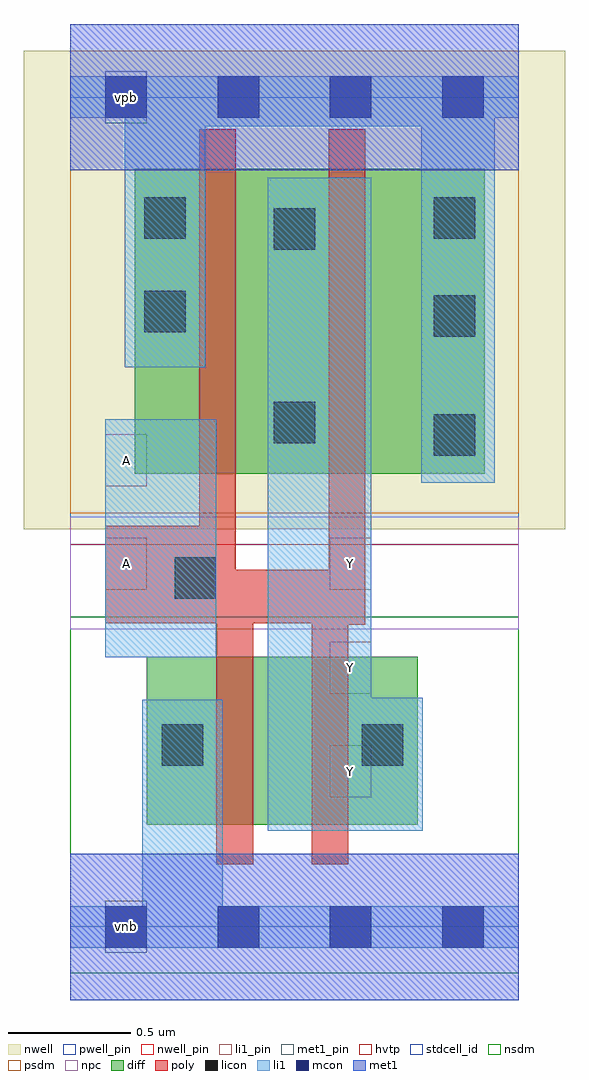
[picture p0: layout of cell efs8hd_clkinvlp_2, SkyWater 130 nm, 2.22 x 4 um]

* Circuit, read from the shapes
.subckt efs8hd_clkinvlp_2 A Y vgnd vnb vpb vpwr
XM1 n1 A vgnd vnb sky130_fd_pr__nfet_01v8 w=0.687 l=0.15
XM2 Y A n1 vnb sky130_fd_pr__nfet_01v8 w=0.687 l=0.15
XM3 Y A vpwr vpb sky130_fd_pr__pfet_01v8_hvt w=1.25 l=0.15 m=2
.ends

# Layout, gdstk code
import gdstk
lib = gdstk.Library(unit=1e-6, precision=1e-09)
def R(c, l, rs):  # rectangles x0, y0, x1, y1
    for r in rs: c.add(gdstk.rectangle(r[:2], r[2:], *l))
def A(c, l, x, y, w, h, nx, ny, dx, dy):  # array of equal rectangles
    R(c, l, [(x+i*dx, y+j*dy, x+i*dx+w, y+j*dy+h) for i in range(nx) for j in range(ny)])
def P(c, l, *ps):  # polygons
    for p in ps: c.add(gdstk.Polygon(p, *l))
nwell_pin = (64, 16)
nwell = (64, 20)
diff = (65, 20)
poly = (66, 20)
licon = (66, 44)
li1_pin = (67, 16)
li1 = (67, 20)
mcon = (67, 44)
met1_pin = (68, 16)
met1 = (68, 20)
hvtp = (78, 44)
stdcell_id = (81, 4)
nsdm = (93, 44)
psdm = (94, 20)
npc = (95, 20)
pwell_pin = (122, 16)

efs8hd_clkinvlp_2 = lib.new_cell('efs8hd_clkinvlp_2')
R(efs8hd_clkinvlp_2, nwell_pin, [(0.145,3.294,0.315,3.506)])
R(efs8hd_clkinvlp_2, nwell, [(-0.19,1.63,2.03,3.59)])
R(efs8hd_clkinvlp_2, diff, [(0.315,0.419,1.425,1.106), (0.265,1.856,1.7,3.106)])
P(efs8hd_clkinvlp_2, poly, [(1.06,3.269),(1.06,1.463),(0.68,1.463),(0.68,3.269),(0.53,3.269),(0.53,1.644),(0.145,1.644),(0.145,1.244),(0.6,1.244),(0.6,0.256),(0.75,0.256),(0.75,1.244),(0.99,1.244),(0.99,0.256),(1.14,0.256),(1.14,1.238),(1.21,1.238),(1.21,3.269)])
R(efs8hd_clkinvlp_2, licon, [(0.375,0.661,0.545,0.831), (1.195,0.661,1.365,0.831), (0.43,1.344,0.6,1.514), (1.49,1.931,1.66,2.101), (0.835,1.981,1.005,2.151), (1.49,2.418,1.66,2.588), (0.305,2.436,0.475,2.606), (0.835,2.774,1.005,2.944), (0.305,2.819,0.475,2.989), (1.49,2.819,1.66,2.989)])
A(efs8hd_clkinvlp_2, li1_pin, 1.065, 0.531, 0.17, 0.213, 1, 3, 0, 0.425)
R(efs8hd_clkinvlp_2, li1_pin, [(0.145,1.381,0.315,1.594), (0.145,1.806,0.315,2.019)])
R(efs8hd_clkinvlp_2, li1, [(0.145,1.105,0.6,2.081)])
P(efs8hd_clkinvlp_2, li1, [(0.295,0.931),(0.295,0.085),(0,0.085),(0,-0.085),(1.84,-0.085),(1.84,0.085),(0.625,0.085),(0.625,0.931)],
  [(0.81,3.069),(0.81,0.394),(1.445,0.394),(1.445,0.938),(1.235,0.938),(1.235,3.069)],
  [(0,3.485),(0,3.315),(0.225,3.315),(0.225,2.294),(0.555,2.294),(0.555,3.281),(1.44,3.281),(1.44,1.819),(1.74,1.819),(1.74,3.315),(1.84,3.315),(1.84,3.485)])
R(efs8hd_clkinvlp_2, mcon, [(0.145,-0.085,0.315,0.085), (0.145,-0.085,0.315,0.085), (0.145,-0.085,0.315,0.085), (0.145,-0.085,0.315,0.085), (0.145,-0.085,0.315,0.085), (0.145,-0.085,0.315,0.085), (0.145,-0.085,0.315,0.085), (0.145,-0.085,0.315,0.085), (0.145,-0.085,0.315,0.085), (0.145,-0.085,0.315,0.085), (0.145,-0.085,0.315,0.085), (0.145,-0.085,0.315,0.085), (0.145,-0.085,0.315,0.085), (0.145,-0.085,0.315,0.085), (0.145,-0.085,0.315,0.085), (0.145,-0.085,0.315,0.085), (0.145,-0.085,0.315,0.085), (0.145,-0.085,0.315,0.085), (0.145,-0.085,0.315,0.085), (0.145,-0.085,0.315,0.085), (0.145,-0.085,0.315,0.085), (0.145,-0.085,0.315,0.085), (0.145,-0.085,0.315,0.085), (0.145,-0.085,0.315,0.085), (0.145,-0.085,0.315,0.085), (0.145,-0.085,0.315,0.085), (0.145,-0.085,0.315,0.085), (0.145,-0.085,0.315,0.085), (0.145,-0.085,0.315,0.085), (0.145,-0.085,0.315,0.085), (0.145,-0.085,0.315,0.085), (0.145,-0.085,0.315,0.085), (0.145,-0.085,0.315,0.085), (0.145,-0.085,0.315,0.085), (0.145,-0.085,0.315,0.085), (0.145,-0.085,0.315,0.085), (0.145,-0.085,0.315,0.085), (0.145,-0.085,0.315,0.085), (0.145,-0.085,0.315,0.085), (0.145,-0.085,0.315,0.085), (0.145,-0.085,0.315,0.085), (0.145,-0.085,0.315,0.085), (0.145,-0.085,0.315,0.085), (0.145,-0.085,0.315,0.085), (0.145,-0.085,0.315,0.085), (0.145,-0.085,0.315,0.085), (0.145,-0.085,0.315,0.085), (0.145,-0.085,0.315,0.085), (0.145,-0.085,0.315,0.085), (0.145,-0.085,0.315,0.085), (0.145,-0.085,0.315,0.085), (0.145,-0.085,0.315,0.085), (0.145,-0.085,0.315,0.085), (0.145,-0.085,0.315,0.085), (0.145,-0.085,0.315,0.085), (0.145,-0.085,0.315,0.085), (0.145,-0.085,0.315,0.085), (0.145,-0.085,0.315,0.085), (0.145,-0.085,0.315,0.085), (0.145,-0.085,0.315,0.085), (0.145,-0.085,0.315,0.085), (0.145,-0.085,0.315,0.085), (0.145,-0.085,0.315,0.085), (0.145,-0.085,0.315,0.085), (0.145,-0.085,0.315,0.085), (0.145,-0.085,0.315,0.085), (0.145,-0.085,0.315,0.085), (0.145,-0.085,0.315,0.085), (0.145,-0.085,0.315,0.085), (0.145,-0.085,0.315,0.085), (0.145,-0.085,0.315,0.085), (0.145,-0.085,0.315,0.085), (0.145,-0.085,0.315,0.085), (0.145,-0.085,0.315,0.085), (0.145,-0.085,0.315,0.085), (0.145,-0.085,0.315,0.085), (0.145,-0.085,0.315,0.085), (0.145,-0.085,0.315,0.085), (0.145,-0.085,0.315,0.085), (0.145,-0.085,0.315,0.085), (0.145,-0.085,0.315,0.085), (0.145,-0.085,0.315,0.085), (0.145,-0.085,0.315,0.085), (0.145,-0.085,0.315,0.085), (0.145,-0.085,0.315,0.085), (0.145,-0.085,0.315,0.085), (0.145,-0.085,0.315,0.085), (0.145,-0.085,0.315,0.085), (0.145,-0.085,0.315,0.085), (0.145,-0.085,0.315,0.085), (0.145,-0.085,0.315,0.085), (0.145,-0.085,0.315,0.085), (0.145,-0.085,0.315,0.085), (0.145,-0.085,0.315,0.085), (0.145,-0.085,0.315,0.085), (0.145,-0.085,0.315,0.085), (0.145,-0.085,0.315,0.085), (0.145,-0.085,0.315,0.085), (0.145,-0.085,0.315,0.085), (0.145,-0.085,0.315,0.085), (0.145,-0.085,0.315,0.085), (0.145,-0.085,0.315,0.085), (0.145,-0.085,0.315,0.085), (0.145,-0.085,0.315,0.085), (0.145,-0.085,0.315,0.085), (0.145,-0.085,0.315,0.085), (0.145,-0.085,0.315,0.085), (0.145,-0.085,0.315,0.085), (0.145,-0.085,0.315,0.085), (0.605,-0.085,0.775,0.085), (0.605,-0.085,0.775,0.085), (0.605,-0.085,0.775,0.085), (0.605,-0.085,0.775,0.085), (0.605,-0.085,0.775,0.085), (0.605,-0.085,0.775,0.085), (0.605,-0.085,0.775,0.085), (0.605,-0.085,0.775,0.085), (0.605,-0.085,0.775,0.085), (0.605,-0.085,0.775,0.085), (0.605,-0.085,0.775,0.085), (0.605,-0.085,0.775,0.085), (0.605,-0.085,0.775,0.085), (0.605,-0.085,0.775,0.085), (0.605,-0.085,0.775,0.085), (0.605,-0.085,0.775,0.085), (0.605,-0.085,0.775,0.085), (0.605,-0.085,0.775,0.085), (0.605,-0.085,0.775,0.085), (0.605,-0.085,0.775,0.085), (0.605,-0.085,0.775,0.085), (0.605,-0.085,0.775,0.085), (0.605,-0.085,0.775,0.085), (0.605,-0.085,0.775,0.085), (0.605,-0.085,0.775,0.085), (0.605,-0.085,0.775,0.085), (0.605,-0.085,0.775,0.085), (0.605,-0.085,0.775,0.085), (0.605,-0.085,0.775,0.085), (0.605,-0.085,0.775,0.085), (0.605,-0.085,0.775,0.085), (0.605,-0.085,0.775,0.085), (0.605,-0.085,0.775,0.085), (0.605,-0.085,0.775,0.085), (0.605,-0.085,0.775,0.085), (0.605,-0.085,0.775,0.085), (0.605,-0.085,0.775,0.085), (0.605,-0.085,0.775,0.085), (0.605,-0.085,0.775,0.085), (0.605,-0.085,0.775,0.085), (0.605,-0.085,0.775,0.085), (0.605,-0.085,0.775,0.085), (0.605,-0.085,0.775,0.085), (0.605,-0.085,0.775,0.085), (0.605,-0.085,0.775,0.085), (0.605,-0.085,0.775,0.085), (0.605,-0.085,0.775,0.085), (0.605,-0.085,0.775,0.085), (0.605,-0.085,0.775,0.085), (0.605,-0.085,0.775,0.085), (0.605,-0.085,0.775,0.085), (0.605,-0.085,0.775,0.085), (0.605,-0.085,0.775,0.085), (0.605,-0.085,0.775,0.085), (0.605,-0.085,0.775,0.085), (0.605,-0.085,0.775,0.085), (0.605,-0.085,0.775,0.085), (0.605,-0.085,0.775,0.085), (0.605,-0.085,0.775,0.085), (0.605,-0.085,0.775,0.085), (0.605,-0.085,0.775,0.085), (0.605,-0.085,0.775,0.085), (0.605,-0.085,0.775,0.085), (0.605,-0.085,0.775,0.085), (0.605,-0.085,0.775,0.085), (0.605,-0.085,0.775,0.085), (0.605,-0.085,0.775,0.085), (0.605,-0.085,0.775,0.085), (0.605,-0.085,0.775,0.085), (0.605,-0.085,0.775,0.085), (0.605,-0.085,0.775,0.085), (0.605,-0.085,0.775,0.085), (0.605,-0.085,0.775,0.085), (0.605,-0.085,0.775,0.085), (0.605,-0.085,0.775,0.085), (0.605,-0.085,0.775,0.085), (0.605,-0.085,0.775,0.085), (0.605,-0.085,0.775,0.085), (0.605,-0.085,0.775,0.085), (0.605,-0.085,0.775,0.085), (0.605,-0.085,0.775,0.085), (0.605,-0.085,0.775,0.085), (0.605,-0.085,0.775,0.085), (0.605,-0.085,0.775,0.085), (0.605,-0.085,0.775,0.085), (0.605,-0.085,0.775,0.085), (0.605,-0.085,0.775,0.085), (0.605,-0.085,0.775,0.085), (0.605,-0.085,0.775,0.085), (0.605,-0.085,0.775,0.085), (0.605,-0.085,0.775,0.085), (0.605,-0.085,0.775,0.085), (0.605,-0.085,0.775,0.085), (0.605,-0.085,0.775,0.085), (0.605,-0.085,0.775,0.085), (0.605,-0.085,0.775,0.085), (0.605,-0.085,0.775,0.085), (0.605,-0.085,0.775,0.085), (0.605,-0.085,0.775,0.085), (0.605,-0.085,0.775,0.085), (0.605,-0.085,0.775,0.085), (0.605,-0.085,0.775,0.085), (0.605,-0.085,0.775,0.085), (0.605,-0.085,0.775,0.085), (0.605,-0.085,0.775,0.085), (0.605,-0.085,0.775,0.085), (0.605,-0.085,0.775,0.085), (0.605,-0.085,0.775,0.085), (0.605,-0.085,0.775,0.085), (1.065,-0.085,1.235,0.085), (1.065,-0.085,1.235,0.085), (1.065,-0.085,1.235,0.085), (1.065,-0.085,1.235,0.085), (1.065,-0.085,1.235,0.085), (1.065,-0.085,1.235,0.085), (1.065,-0.085,1.235,0.085), (1.065,-0.085,1.235,0.085), (1.065,-0.085,1.235,0.085), (1.065,-0.085,1.235,0.085), (1.065,-0.085,1.235,0.085), (1.065,-0.085,1.235,0.085), (1.065,-0.085,1.235,0.085), (1.065,-0.085,1.235,0.085), (1.065,-0.085,1.235,0.085), (1.065,-0.085,1.235,0.085), (1.065,-0.085,1.235,0.085), (1.065,-0.085,1.235,0.085), (1.065,-0.085,1.235,0.085), (1.065,-0.085,1.235,0.085), (1.065,-0.085,1.235,0.085), (1.065,-0.085,1.235,0.085), (1.065,-0.085,1.235,0.085), (1.065,-0.085,1.235,0.085), (1.065,-0.085,1.235,0.085), (1.065,-0.085,1.235,0.085), (1.065,-0.085,1.235,0.085), (1.065,-0.085,1.235,0.085), (1.065,-0.085,1.235,0.085), (1.065,-0.085,1.235,0.085), (1.065,-0.085,1.235,0.085), (1.065,-0.085,1.235,0.085), (1.065,-0.085,1.235,0.085), (1.065,-0.085,1.235,0.085), (1.065,-0.085,1.235,0.085), (1.065,-0.085,1.235,0.085), (1.065,-0.085,1.235,0.085), (1.065,-0.085,1.235,0.085), (1.065,-0.085,1.235,0.085), (1.065,-0.085,1.235,0.085), (1.065,-0.085,1.235,0.085), (1.065,-0.085,1.235,0.085), (1.065,-0.085,1.235,0.085), (1.065,-0.085,1.235,0.085), (1.065,-0.085,1.235,0.085), (1.065,-0.085,1.235,0.085), (1.065,-0.085,1.235,0.085), (1.065,-0.085,1.235,0.085), (1.065,-0.085,1.235,0.085), (1.065,-0.085,1.235,0.085), (1.065,-0.085,1.235,0.085), (1.065,-0.085,1.235,0.085), (1.065,-0.085,1.235,0.085), (1.065,-0.085,1.235,0.085), (1.065,-0.085,1.235,0.085), (1.065,-0.085,1.235,0.085), (1.065,-0.085,1.235,0.085), (1.065,-0.085,1.235,0.085), (1.065,-0.085,1.235,0.085), (1.065,-0.085,1.235,0.085), (1.065,-0.085,1.235,0.085), (1.065,-0.085,1.235,0.085), (1.065,-0.085,1.235,0.085), (1.065,-0.085,1.235,0.085), (1.065,-0.085,1.235,0.085), (1.065,-0.085,1.235,0.085), (1.065,-0.085,1.235,0.085), (1.065,-0.085,1.235,0.085), (1.065,-0.085,1.235,0.085), (1.065,-0.085,1.235,0.085), (1.065,-0.085,1.235,0.085), (1.065,-0.085,1.235,0.085), (1.065,-0.085,1.235,0.085), (1.065,-0.085,1.235,0.085), (1.065,-0.085,1.235,0.085), (1.065,-0.085,1.235,0.085), (1.065,-0.085,1.235,0.085), (1.065,-0.085,1.235,0.085), (1.065,-0.085,1.235,0.085), (1.065,-0.085,1.235,0.085), (1.065,-0.085,1.235,0.085), (1.065,-0.085,1.235,0.085), (1.065,-0.085,1.235,0.085), (1.065,-0.085,1.235,0.085), (1.065,-0.085,1.235,0.085), (1.065,-0.085,1.235,0.085), (1.065,-0.085,1.235,0.085), (1.065,-0.085,1.235,0.085), (1.065,-0.085,1.235,0.085), (1.065,-0.085,1.235,0.085), (1.065,-0.085,1.235,0.085), (1.065,-0.085,1.235,0.085), (1.065,-0.085,1.235,0.085), (1.065,-0.085,1.235,0.085), (1.065,-0.085,1.235,0.085), (1.065,-0.085,1.235,0.085), (1.065,-0.085,1.235,0.085), (1.065,-0.085,1.235,0.085), (1.065,-0.085,1.235,0.085), (1.065,-0.085,1.235,0.085), (1.065,-0.085,1.235,0.085), (1.065,-0.085,1.235,0.085), (1.065,-0.085,1.235,0.085), (1.065,-0.085,1.235,0.085), (1.065,-0.085,1.235,0.085), (1.065,-0.085,1.235,0.085), (1.065,-0.085,1.235,0.085), (1.065,-0.085,1.235,0.085), (1.065,-0.085,1.235,0.085), (1.525,-0.085,1.695,0.085), (1.525,-0.085,1.695,0.085), (1.525,-0.085,1.695,0.085), (1.525,-0.085,1.695,0.085), (1.525,-0.085,1.695,0.085), (1.525,-0.085,1.695,0.085), (1.525,-0.085,1.695,0.085), (1.525,-0.085,1.695,0.085), (1.525,-0.085,1.695,0.085), (1.525,-0.085,1.695,0.085), (1.525,-0.085,1.695,0.085), (1.525,-0.085,1.695,0.085), (1.525,-0.085,1.695,0.085), (1.525,-0.085,1.695,0.085), (1.525,-0.085,1.695,0.085), (1.525,-0.085,1.695,0.085), (1.525,-0.085,1.695,0.085), (1.525,-0.085,1.695,0.085), (1.525,-0.085,1.695,0.085), (1.525,-0.085,1.695,0.085), (1.525,-0.085,1.695,0.085), (1.525,-0.085,1.695,0.085), (1.525,-0.085,1.695,0.085), (1.525,-0.085,1.695,0.085), (1.525,-0.085,1.695,0.085), (1.525,-0.085,1.695,0.085), (1.525,-0.085,1.695,0.085), (1.525,-0.085,1.695,0.085), (1.525,-0.085,1.695,0.085), (1.525,-0.085,1.695,0.085), (1.525,-0.085,1.695,0.085), (1.525,-0.085,1.695,0.085), (1.525,-0.085,1.695,0.085), (1.525,-0.085,1.695,0.085), (1.525,-0.085,1.695,0.085), (1.525,-0.085,1.695,0.085), (1.525,-0.085,1.695,0.085), (1.525,-0.085,1.695,0.085), (1.525,-0.085,1.695,0.085), (1.525,-0.085,1.695,0.085), (1.525,-0.085,1.695,0.085), (1.525,-0.085,1.695,0.085), (1.525,-0.085,1.695,0.085), (1.525,-0.085,1.695,0.085), (1.525,-0.085,1.695,0.085), (1.525,-0.085,1.695,0.085), (1.525,-0.085,1.695,0.085), (1.525,-0.085,1.695,0.085), (1.525,-0.085,1.695,0.085), (1.525,-0.085,1.695,0.085), (1.525,-0.085,1.695,0.085), (1.525,-0.085,1.695,0.085), (1.525,-0.085,1.695,0.085), (1.525,-0.085,1.695,0.085), (1.525,-0.085,1.695,0.085), (1.525,-0.085,1.695,0.085), (1.525,-0.085,1.695,0.085), (1.525,-0.085,1.695,0.085), (1.525,-0.085,1.695,0.085), (1.525,-0.085,1.695,0.085), (1.525,-0.085,1.695,0.085), (1.525,-0.085,1.695,0.085), (1.525,-0.085,1.695,0.085), (1.525,-0.085,1.695,0.085), (1.525,-0.085,1.695,0.085), (1.525,-0.085,1.695,0.085), (1.525,-0.085,1.695,0.085), (1.525,-0.085,1.695,0.085), (1.525,-0.085,1.695,0.085), (1.525,-0.085,1.695,0.085), (1.525,-0.085,1.695,0.085), (1.525,-0.085,1.695,0.085), (1.525,-0.085,1.695,0.085), (1.525,-0.085,1.695,0.085), (1.525,-0.085,1.695,0.085), (1.525,-0.085,1.695,0.085), (1.525,-0.085,1.695,0.085), (1.525,-0.085,1.695,0.085), (1.525,-0.085,1.695,0.085), (1.525,-0.085,1.695,0.085), (1.525,-0.085,1.695,0.085), (1.525,-0.085,1.695,0.085), (1.525,-0.085,1.695,0.085), (1.525,-0.085,1.695,0.085), (1.525,-0.085,1.695,0.085), (1.525,-0.085,1.695,0.085), (1.525,-0.085,1.695,0.085), (1.525,-0.085,1.695,0.085), (1.525,-0.085,1.695,0.085), (1.525,-0.085,1.695,0.085), (1.525,-0.085,1.695,0.085), (1.525,-0.085,1.695,0.085), (1.525,-0.085,1.695,0.085), (1.525,-0.085,1.695,0.085), (1.525,-0.085,1.695,0.085), (1.525,-0.085,1.695,0.085), (1.525,-0.085,1.695,0.085), (1.525,-0.085,1.695,0.085), (1.525,-0.085,1.695,0.085), (1.525,-0.085,1.695,0.085), (1.525,-0.085,1.695,0.085), (1.525,-0.085,1.695,0.085), (1.525,-0.085,1.695,0.085), (1.525,-0.085,1.695,0.085), (1.525,-0.085,1.695,0.085), (1.525,-0.085,1.695,0.085), (1.525,-0.085,1.695,0.085), (1.525,-0.085,1.695,0.085), (1.525,-0.085,1.695,0.085), (0.145,3.315,0.315,3.485), (0.145,3.315,0.315,3.485), (0.145,3.315,0.315,3.485), (0.145,3.315,0.315,3.485), (0.145,3.315,0.315,3.485), (0.145,3.315,0.315,3.485), (0.145,3.315,0.315,3.485), (0.145,3.315,0.315,3.485), (0.145,3.315,0.315,3.485), (0.145,3.315,0.315,3.485), (0.145,3.315,0.315,3.485), (0.145,3.315,0.315,3.485), (0.145,3.315,0.315,3.485), (0.145,3.315,0.315,3.485), (0.145,3.315,0.315,3.485), (0.145,3.315,0.315,3.485), (0.145,3.315,0.315,3.485), (0.145,3.315,0.315,3.485), (0.145,3.315,0.315,3.485), (0.145,3.315,0.315,3.485), (0.145,3.315,0.315,3.485), (0.145,3.315,0.315,3.485), (0.145,3.315,0.315,3.485), (0.145,3.315,0.315,3.485), (0.145,3.315,0.315,3.485), (0.145,3.315,0.315,3.485), (0.145,3.315,0.315,3.485), (0.145,3.315,0.315,3.485), (0.145,3.315,0.315,3.485), (0.145,3.315,0.315,3.485), (0.145,3.315,0.315,3.485), (0.145,3.315,0.315,3.485), (0.145,3.315,0.315,3.485), (0.145,3.315,0.315,3.485), (0.145,3.315,0.315,3.485), (0.145,3.315,0.315,3.485), (0.145,3.315,0.315,3.485), (0.145,3.315,0.315,3.485), (0.145,3.315,0.315,3.485), (0.145,3.315,0.315,3.485), (0.145,3.315,0.315,3.485), (0.145,3.315,0.315,3.485), (0.145,3.315,0.315,3.485), (0.145,3.315,0.315,3.485), (0.145,3.315,0.315,3.485), (0.145,3.315,0.315,3.485), (0.145,3.315,0.315,3.485), (0.145,3.315,0.315,3.485), (0.145,3.315,0.315,3.485), (0.145,3.315,0.315,3.485), (0.145,3.315,0.315,3.485), (0.145,3.315,0.315,3.485), (0.145,3.315,0.315,3.485), (0.145,3.315,0.315,3.485), (0.145,3.315,0.315,3.485), (0.145,3.315,0.315,3.485), (0.145,3.315,0.315,3.485), (0.145,3.315,0.315,3.485), (0.145,3.315,0.315,3.485), (0.145,3.315,0.315,3.485), (0.145,3.315,0.315,3.485), (0.145,3.315,0.315,3.485), (0.145,3.315,0.315,3.485), (0.145,3.315,0.315,3.485), (0.145,3.315,0.315,3.485), (0.145,3.315,0.315,3.485), (0.145,3.315,0.315,3.485), (0.145,3.315,0.315,3.485), (0.145,3.315,0.315,3.485), (0.145,3.315,0.315,3.485), (0.145,3.315,0.315,3.485), (0.145,3.315,0.315,3.485), (0.145,3.315,0.315,3.485), (0.145,3.315,0.315,3.485), (0.145,3.315,0.315,3.485), (0.145,3.315,0.315,3.485), (0.145,3.315,0.315,3.485), (0.145,3.315,0.315,3.485), (0.145,3.315,0.315,3.485), (0.145,3.315,0.315,3.485), (0.145,3.315,0.315,3.485), (0.145,3.315,0.315,3.485), (0.145,3.315,0.315,3.485), (0.145,3.315,0.315,3.485), (0.145,3.315,0.315,3.485), (0.145,3.315,0.315,3.485), (0.145,3.315,0.315,3.485), (0.145,3.315,0.315,3.485), (0.145,3.315,0.315,3.485), (0.145,3.315,0.315,3.485), (0.145,3.315,0.315,3.485), (0.145,3.315,0.315,3.485), (0.145,3.315,0.315,3.485), (0.145,3.315,0.315,3.485), (0.145,3.315,0.315,3.485), (0.145,3.315,0.315,3.485), (0.145,3.315,0.315,3.485), (0.145,3.315,0.315,3.485), (0.145,3.315,0.315,3.485), (0.145,3.315,0.315,3.485), (0.145,3.315,0.315,3.485), (0.145,3.315,0.315,3.485), (0.145,3.315,0.315,3.485), (0.145,3.315,0.315,3.485), (0.145,3.315,0.315,3.485), (0.145,3.315,0.315,3.485), (0.145,3.315,0.315,3.485), (0.145,3.315,0.315,3.485), (0.145,3.315,0.315,3.485), (0.605,3.315,0.775,3.485), (0.605,3.315,0.775,3.485), (0.605,3.315,0.775,3.485), (0.605,3.315,0.775,3.485), (0.605,3.315,0.775,3.485), (0.605,3.315,0.775,3.485), (0.605,3.315,0.775,3.485), (0.605,3.315,0.775,3.485), (0.605,3.315,0.775,3.485), (0.605,3.315,0.775,3.485), (0.605,3.315,0.775,3.485), (0.605,3.315,0.775,3.485), (0.605,3.315,0.775,3.485), (0.605,3.315,0.775,3.485), (0.605,3.315,0.775,3.485), (0.605,3.315,0.775,3.485), (0.605,3.315,0.775,3.485), (0.605,3.315,0.775,3.485), (0.605,3.315,0.775,3.485), (0.605,3.315,0.775,3.485), (0.605,3.315,0.775,3.485), (0.605,3.315,0.775,3.485), (0.605,3.315,0.775,3.485), (0.605,3.315,0.775,3.485), (0.605,3.315,0.775,3.485), (0.605,3.315,0.775,3.485), (0.605,3.315,0.775,3.485), (0.605,3.315,0.775,3.485), (0.605,3.315,0.775,3.485), (0.605,3.315,0.775,3.485), (0.605,3.315,0.775,3.485), (0.605,3.315,0.775,3.485), (0.605,3.315,0.775,3.485), (0.605,3.315,0.775,3.485), (0.605,3.315,0.775,3.485), (0.605,3.315,0.775,3.485), (0.605,3.315,0.775,3.485), (0.605,3.315,0.775,3.485), (0.605,3.315,0.775,3.485), (0.605,3.315,0.775,3.485), (0.605,3.315,0.775,3.485), (0.605,3.315,0.775,3.485), (0.605,3.315,0.775,3.485), (0.605,3.315,0.775,3.485), (0.605,3.315,0.775,3.485), (0.605,3.315,0.775,3.485), (0.605,3.315,0.775,3.485), (0.605,3.315,0.775,3.485), (0.605,3.315,0.775,3.485), (0.605,3.315,0.775,3.485), (0.605,3.315,0.775,3.485), (0.605,3.315,0.775,3.485), (0.605,3.315,0.775,3.485), (0.605,3.315,0.775,3.485), (0.605,3.315,0.775,3.485), (0.605,3.315,0.775,3.485), (0.605,3.315,0.775,3.485), (0.605,3.315,0.775,3.485), (0.605,3.315,0.775,3.485), (0.605,3.315,0.775,3.485), (0.605,3.315,0.775,3.485), (0.605,3.315,0.775,3.485), (0.605,3.315,0.775,3.485), (0.605,3.315,0.775,3.485), (0.605,3.315,0.775,3.485), (0.605,3.315,0.775,3.485), (0.605,3.315,0.775,3.485), (0.605,3.315,0.775,3.485), (0.605,3.315,0.775,3.485), (0.605,3.315,0.775,3.485), (0.605,3.315,0.775,3.485), (0.605,3.315,0.775,3.485), (0.605,3.315,0.775,3.485), (0.605,3.315,0.775,3.485), (0.605,3.315,0.775,3.485), (0.605,3.315,0.775,3.485), (0.605,3.315,0.775,3.485), (0.605,3.315,0.775,3.485), (0.605,3.315,0.775,3.485), (0.605,3.315,0.775,3.485), (0.605,3.315,0.775,3.485), (0.605,3.315,0.775,3.485), (0.605,3.315,0.775,3.485), (0.605,3.315,0.775,3.485), (0.605,3.315,0.775,3.485), (0.605,3.315,0.775,3.485), (0.605,3.315,0.775,3.485), (0.605,3.315,0.775,3.485), (0.605,3.315,0.775,3.485), (0.605,3.315,0.775,3.485), (0.605,3.315,0.775,3.485), (0.605,3.315,0.775,3.485), (0.605,3.315,0.775,3.485), (0.605,3.315,0.775,3.485), (0.605,3.315,0.775,3.485), (0.605,3.315,0.775,3.485), (0.605,3.315,0.775,3.485), (0.605,3.315,0.775,3.485), (0.605,3.315,0.775,3.485), (0.605,3.315,0.775,3.485), (0.605,3.315,0.775,3.485), (0.605,3.315,0.775,3.485), (0.605,3.315,0.775,3.485), (0.605,3.315,0.775,3.485), (0.605,3.315,0.775,3.485), (0.605,3.315,0.775,3.485), (0.605,3.315,0.775,3.485), (0.605,3.315,0.775,3.485), (0.605,3.315,0.775,3.485), (1.065,3.315,1.235,3.485), (1.065,3.315,1.235,3.485), (1.065,3.315,1.235,3.485), (1.065,3.315,1.235,3.485), (1.065,3.315,1.235,3.485), (1.065,3.315,1.235,3.485), (1.065,3.315,1.235,3.485), (1.065,3.315,1.235,3.485), (1.065,3.315,1.235,3.485), (1.065,3.315,1.235,3.485), (1.065,3.315,1.235,3.485), (1.065,3.315,1.235,3.485), (1.065,3.315,1.235,3.485), (1.065,3.315,1.235,3.485), (1.065,3.315,1.235,3.485), (1.065,3.315,1.235,3.485), (1.065,3.315,1.235,3.485), (1.065,3.315,1.235,3.485), (1.065,3.315,1.235,3.485), (1.065,3.315,1.235,3.485), (1.065,3.315,1.235,3.485), (1.065,3.315,1.235,3.485), (1.065,3.315,1.235,3.485), (1.065,3.315,1.235,3.485), (1.065,3.315,1.235,3.485), (1.065,3.315,1.235,3.485), (1.065,3.315,1.235,3.485), (1.065,3.315,1.235,3.485), (1.065,3.315,1.235,3.485), (1.065,3.315,1.235,3.485), (1.065,3.315,1.235,3.485), (1.065,3.315,1.235,3.485), (1.065,3.315,1.235,3.485), (1.065,3.315,1.235,3.485), (1.065,3.315,1.235,3.485), (1.065,3.315,1.235,3.485), (1.065,3.315,1.235,3.485), (1.065,3.315,1.235,3.485), (1.065,3.315,1.235,3.485), (1.065,3.315,1.235,3.485), (1.065,3.315,1.235,3.485), (1.065,3.315,1.235,3.485), (1.065,3.315,1.235,3.485), (1.065,3.315,1.235,3.485), (1.065,3.315,1.235,3.485), (1.065,3.315,1.235,3.485), (1.065,3.315,1.235,3.485), (1.065,3.315,1.235,3.485), (1.065,3.315,1.235,3.485), (1.065,3.315,1.235,3.485), (1.065,3.315,1.235,3.485), (1.065,3.315,1.235,3.485), (1.065,3.315,1.235,3.485), (1.065,3.315,1.235,3.485), (1.065,3.315,1.235,3.485), (1.065,3.315,1.235,3.485), (1.065,3.315,1.235,3.485), (1.065,3.315,1.235,3.485), (1.065,3.315,1.235,3.485), (1.065,3.315,1.235,3.485), (1.065,3.315,1.235,3.485), (1.065,3.315,1.235,3.485), (1.065,3.315,1.235,3.485), (1.065,3.315,1.235,3.485), (1.065,3.315,1.235,3.485), (1.065,3.315,1.235,3.485), (1.065,3.315,1.235,3.485), (1.065,3.315,1.235,3.485), (1.065,3.315,1.235,3.485), (1.065,3.315,1.235,3.485), (1.065,3.315,1.235,3.485), (1.065,3.315,1.235,3.485), (1.065,3.315,1.235,3.485), (1.065,3.315,1.235,3.485), (1.065,3.315,1.235,3.485), (1.065,3.315,1.235,3.485), (1.065,3.315,1.235,3.485), (1.065,3.315,1.235,3.485), (1.065,3.315,1.235,3.485), (1.065,3.315,1.235,3.485), (1.065,3.315,1.235,3.485), (1.065,3.315,1.235,3.485), (1.065,3.315,1.235,3.485), (1.065,3.315,1.235,3.485), (1.065,3.315,1.235,3.485), (1.065,3.315,1.235,3.485), (1.065,3.315,1.235,3.485), (1.065,3.315,1.235,3.485), (1.065,3.315,1.235,3.485), (1.065,3.315,1.235,3.485), (1.065,3.315,1.235,3.485), (1.065,3.315,1.235,3.485), (1.065,3.315,1.235,3.485), (1.065,3.315,1.235,3.485), (1.065,3.315,1.235,3.485), (1.065,3.315,1.235,3.485), (1.065,3.315,1.235,3.485), (1.065,3.315,1.235,3.485), (1.065,3.315,1.235,3.485), (1.065,3.315,1.235,3.485), (1.065,3.315,1.235,3.485), (1.065,3.315,1.235,3.485), (1.065,3.315,1.235,3.485), (1.065,3.315,1.235,3.485), (1.065,3.315,1.235,3.485), (1.065,3.315,1.235,3.485), (1.065,3.315,1.235,3.485), (1.065,3.315,1.235,3.485), (1.065,3.315,1.235,3.485), (1.525,3.315,1.695,3.485), (1.525,3.315,1.695,3.485), (1.525,3.315,1.695,3.485), (1.525,3.315,1.695,3.485), (1.525,3.315,1.695,3.485), (1.525,3.315,1.695,3.485), (1.525,3.315,1.695,3.485), (1.525,3.315,1.695,3.485), (1.525,3.315,1.695,3.485), (1.525,3.315,1.695,3.485), (1.525,3.315,1.695,3.485), (1.525,3.315,1.695,3.485), (1.525,3.315,1.695,3.485), (1.525,3.315,1.695,3.485), (1.525,3.315,1.695,3.485), (1.525,3.315,1.695,3.485), (1.525,3.315,1.695,3.485), (1.525,3.315,1.695,3.485), (1.525,3.315,1.695,3.485), (1.525,3.315,1.695,3.485), (1.525,3.315,1.695,3.485), (1.525,3.315,1.695,3.485), (1.525,3.315,1.695,3.485), (1.525,3.315,1.695,3.485), (1.525,3.315,1.695,3.485), (1.525,3.315,1.695,3.485), (1.525,3.315,1.695,3.485), (1.525,3.315,1.695,3.485), (1.525,3.315,1.695,3.485), (1.525,3.315,1.695,3.485), (1.525,3.315,1.695,3.485), (1.525,3.315,1.695,3.485), (1.525,3.315,1.695,3.485), (1.525,3.315,1.695,3.485), (1.525,3.315,1.695,3.485), (1.525,3.315,1.695,3.485), (1.525,3.315,1.695,3.485), (1.525,3.315,1.695,3.485), (1.525,3.315,1.695,3.485), (1.525,3.315,1.695,3.485), (1.525,3.315,1.695,3.485), (1.525,3.315,1.695,3.485), (1.525,3.315,1.695,3.485), (1.525,3.315,1.695,3.485), (1.525,3.315,1.695,3.485), (1.525,3.315,1.695,3.485), (1.525,3.315,1.695,3.485), (1.525,3.315,1.695,3.485), (1.525,3.315,1.695,3.485), (1.525,3.315,1.695,3.485), (1.525,3.315,1.695,3.485), (1.525,3.315,1.695,3.485), (1.525,3.315,1.695,3.485), (1.525,3.315,1.695,3.485), (1.525,3.315,1.695,3.485), (1.525,3.315,1.695,3.485), (1.525,3.315,1.695,3.485), (1.525,3.315,1.695,3.485), (1.525,3.315,1.695,3.485), (1.525,3.315,1.695,3.485), (1.525,3.315,1.695,3.485), (1.525,3.315,1.695,3.485), (1.525,3.315,1.695,3.485), (1.525,3.315,1.695,3.485), (1.525,3.315,1.695,3.485), (1.525,3.315,1.695,3.485), (1.525,3.315,1.695,3.485), (1.525,3.315,1.695,3.485), (1.525,3.315,1.695,3.485), (1.525,3.315,1.695,3.485), (1.525,3.315,1.695,3.485), (1.525,3.315,1.695,3.485), (1.525,3.315,1.695,3.485), (1.525,3.315,1.695,3.485), (1.525,3.315,1.695,3.485), (1.525,3.315,1.695,3.485), (1.525,3.315,1.695,3.485), (1.525,3.315,1.695,3.485), (1.525,3.315,1.695,3.485), (1.525,3.315,1.695,3.485), (1.525,3.315,1.695,3.485), (1.525,3.315,1.695,3.485), (1.525,3.315,1.695,3.485), (1.525,3.315,1.695,3.485), (1.525,3.315,1.695,3.485), (1.525,3.315,1.695,3.485), (1.525,3.315,1.695,3.485), (1.525,3.315,1.695,3.485), (1.525,3.315,1.695,3.485), (1.525,3.315,1.695,3.485), (1.525,3.315,1.695,3.485), (1.525,3.315,1.695,3.485), (1.525,3.315,1.695,3.485), (1.525,3.315,1.695,3.485), (1.525,3.315,1.695,3.485), (1.525,3.315,1.695,3.485), (1.525,3.315,1.695,3.485), (1.525,3.315,1.695,3.485), (1.525,3.315,1.695,3.485), (1.525,3.315,1.695,3.485), (1.525,3.315,1.695,3.485), (1.525,3.315,1.695,3.485), (1.525,3.315,1.695,3.485), (1.525,3.315,1.695,3.485), (1.525,3.315,1.695,3.485), (1.525,3.315,1.695,3.485), (1.525,3.315,1.695,3.485), (1.525,3.315,1.695,3.485), (1.525,3.315,1.695,3.485)])
R(efs8hd_clkinvlp_2, met1_pin, [(0.145,-0.106,0.315,0.106), (0.145,3.294,0.315,3.506)])
R(efs8hd_clkinvlp_2, met1, [(0,-0.3,1.84,0.3), (0,3.1,1.84,3.7)])
R(efs8hd_clkinvlp_2, hvtp, [(0,1.565,1.84,3.4)])
R(efs8hd_clkinvlp_2, stdcell_id, [(0,0,1.84,3.4)])
R(efs8hd_clkinvlp_2, nsdm, [(0,-0.19,1.84,1.27)])
R(efs8hd_clkinvlp_2, psdm, [(0,1.695,1.84,3.59)])
R(efs8hd_clkinvlp_2, npc, [(0,1.22,1.84,1.68)])
R(efs8hd_clkinvlp_2, pwell_pin, [(0.145,-0.106,0.315,0.106)])
efs8hd_clkinvlp_2.add(gdstk.Label('vnb', (0.23,0), layer=64, texttype=59))
efs8hd_clkinvlp_2.add(gdstk.Label('efs8hd_clkinvlp_2', (0,0), layer=83, texttype=44))
efs8hd_clkinvlp_2.add(gdstk.Label('vpb', (0.23,3.4), layer=64, texttype=5))
efs8hd_clkinvlp_2.add(gdstk.Label('Y', (1.15,0.638), layer=67, texttype=5))
efs8hd_clkinvlp_2.add(gdstk.Label('Y', (1.15,1.063), layer=67, texttype=5))
efs8hd_clkinvlp_2.add(gdstk.Label('A', (0.23,1.488), layer=67, texttype=5))
efs8hd_clkinvlp_2.add(gdstk.Label('Y', (1.15,1.488), layer=67, texttype=5))
efs8hd_clkinvlp_2.add(gdstk.Label('A', (0.23,1.913), layer=67, texttype=5))
efs8hd_clkinvlp_2.add(gdstk.Label('vgnd', (0.23,0), layer=68, texttype=5))
efs8hd_clkinvlp_2.add(gdstk.Label('vpwr', (0.23,3.4), layer=68, texttype=5))

lib.write_gds('efs8hd_clkinvlp_2.gds')
